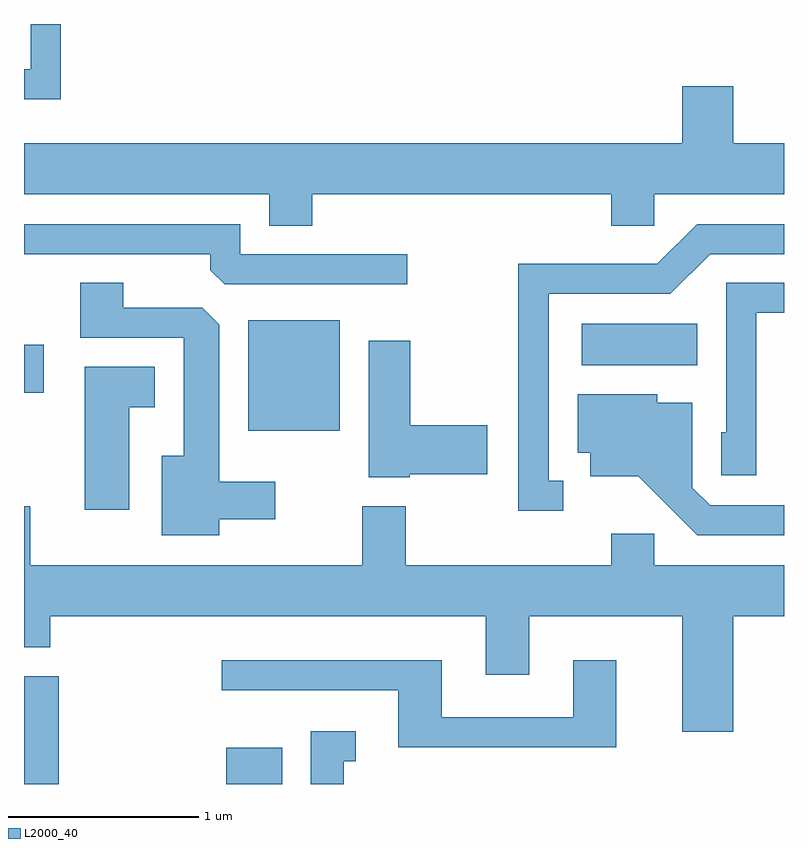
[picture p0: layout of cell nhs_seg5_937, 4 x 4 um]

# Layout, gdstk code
import gdstk
lib = gdstk.Library(unit=1e-6, precision=1e-09)
def R(c, l, rs):  # rectangles x0, y0, x1, y1
    for r in rs: c.add(gdstk.rectangle(r[:2], r[2:], *l))
def P(c, l, *ps):  # polygons
    for p in ps: c.add(gdstk.Polygon(p, *l))
L2000_40 = (2000, 40)

nhs_seg5_937 = lib.new_cell('nhs_seg5_937')
R(nhs_seg5_937, L2000_40, [(211.611,1518.072,211.794,1518.639), (212.676,1518.072,212.969,1518.264), (212.791,1519.931,213.274,1520.514), (211.611,1520.131,211.714,1520.384), (214.546,1520.276,215.154,1520.494)])
P(nhs_seg5_937, L2000_40, [(211.804,1522.072),(211.646,1522.072),(211.646,1521.834),(211.611,1521.834),(211.611,1521.676),(211.804,1521.676)],
  [(213.129,1521.176),(214.701,1521.176),(214.701,1521.011),(214.929,1521.011),(214.929,1521.176),(215.611,1521.176),(215.611,1521.444),(215.344,1521.444),(215.344,1521.744),(215.076,1521.744),(215.076,1521.444),(211.611,1521.444),(211.611,1521.176),(212.901,1521.176),(212.901,1521.011),(213.129,1521.011)],
  [(214.448,1519.669),(214.374,1519.669),(214.374,1520.651),(215.012,1520.651),(215.222,1520.861),(215.611,1520.861),(215.611,1521.019),(215.154,1521.019),(214.944,1520.809),(214.211,1520.809),(214.211,1519.511),(214.448,1519.511)],
  [(213.628,1520.859),(212.749,1520.859),(212.749,1521.019),(211.611,1521.019),(211.611,1520.861),(212.591,1520.861),(212.591,1520.777),(212.667,1520.701),(213.628,1520.701)],
  [(215.464,1520.551),(215.611,1520.551),(215.611,1520.709),(215.306,1520.709),(215.306,1519.924),(215.281,1519.924),(215.281,1519.696),(215.464,1519.696)],
  [(212.639,1519.466),(212.934,1519.466),(212.934,1519.664),(212.639,1519.664),(212.639,1520.489),(212.549,1520.579),(212.134,1520.579),(212.134,1520.709),(211.906,1520.709),(211.906,1520.421),(212.451,1520.421),(212.451,1519.799),(212.336,1519.799),(212.336,1519.381),(212.639,1519.381)],
  [(213.64,1519.701),(214.049,1519.701),(214.049,1519.959),(213.644,1519.959),(213.644,1520.404),(213.426,1520.404),(213.426,1519.686),(213.64,1519.686)],
  [(212.164,1520.056),(212.299,1520.056),(212.299,1520.269),(211.931,1520.269),(211.931,1519.516),(212.164,1519.516)],
  [(215.611,1519.539),(215.222,1519.539),(215.129,1519.632),(215.129,1520.079),(214.944,1520.079),(214.944,1520.124),(214.526,1520.124),(214.526,1519.816),(214.591,1519.816),(214.591,1519.691),(214.844,1519.691),(215.154,1519.381),(215.611,1519.381)],
  [(215.344,1518.956),(215.611,1518.956),(215.611,1519.224),(214.929,1519.224),(214.929,1519.389),(214.701,1519.389),(214.701,1519.224),(213.619,1519.224),(213.619,1519.534),(213.391,1519.534),(213.391,1519.224),(211.644,1519.224),(211.644,1519.534),(211.611,1519.534),(211.611,1518.791),(211.749,1518.791),(211.749,1518.956),(214.041,1518.956),(214.041,1518.646),(214.269,1518.646),(214.269,1518.956),(215.076,1518.956),(215.076,1518.346),(215.344,1518.346)],
  [(214.729,1518.724),(214.501,1518.724),(214.501,1518.424),(213.809,1518.424),(213.809,1518.724),(212.653,1518.724),(212.653,1518.566),(213.581,1518.566),(213.581,1518.266),(214.729,1518.266)],
  [(213.294,1518.191),(213.358,1518.191),(213.358,1518.349),(213.121,1518.349),(213.121,1518.072),(213.294,1518.072)])

lib.write_gds('nhs_seg5_937.gds')
